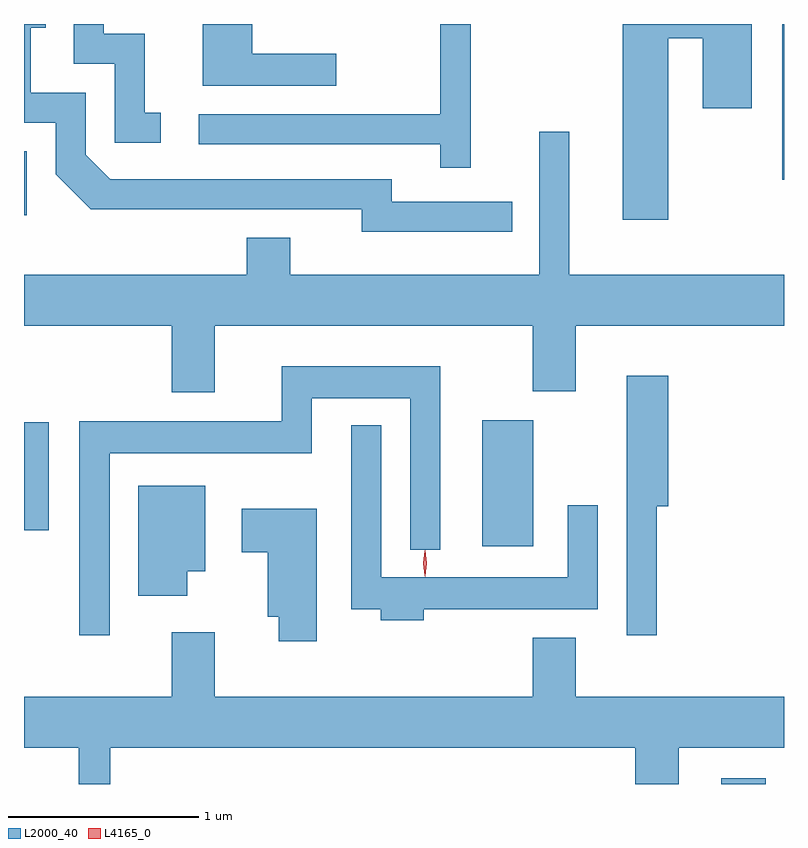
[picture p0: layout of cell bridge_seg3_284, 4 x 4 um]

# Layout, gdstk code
import gdstk
lib = gdstk.Library(unit=1e-6, precision=1e-09)
def R(c, l, rs):  # rectangles x0, y0, x1, y1
    for r in rs: c.add(gdstk.rectangle(r[:2], r[2:], *l))
def P(c, l, *ps):  # polygons
    for p in ps: c.add(gdstk.Polygon(p, *l))
L2000_40 = (2000, 40)
L4165_0 = (4165, 0)

bridge_seg3_284 = lib.new_cell('bridge_seg3_284')
R(bridge_seg3_284, L2000_40, [(1068.623,1116.945,1068.859,1116.974), (1067.366,1118.196,1067.634,1118.859), (1064.954,1118.281,1065.084,1118.849), (1064.954,1119.938,1064.969,1120.274), (1068.946,1120.126,1068.954,1120.945)])
P(bridge_seg3_284, L2000_40, [(1068.344,1120.871),(1068.526,1120.871),(1068.526,1120.501),(1068.784,1120.501),(1068.784,1120.945),(1068.106,1120.945),(1068.106,1119.916),(1068.344,1119.916)],
  [(1065.673,1120.479),(1065.589,1120.479),(1065.589,1120.894),(1065.374,1120.894),(1065.374,1120.945),(1065.216,1120.945),(1065.216,1120.736),(1065.431,1120.736),(1065.431,1120.321),(1065.673,1120.321)],
  [(1067.304,1120.945),(1067.146,1120.945),(1067.146,1120.469),(1065.873,1120.469),(1065.873,1120.311),(1067.146,1120.311),(1067.146,1120.188),(1067.304,1120.188)],
  [(1066.598,1120.789),(1066.154,1120.789),(1066.154,1120.945),(1065.896,1120.945),(1065.896,1120.621),(1066.598,1120.621)],
  [(1067.523,1120.009),(1066.889,1120.009),(1066.889,1120.129),(1065.407,1120.129),(1065.279,1120.257),(1065.279,1120.584),(1064.989,1120.584),(1064.989,1120.926),(1065.068,1120.926),(1065.068,1120.945),(1064.954,1120.945),(1064.954,1120.426),(1065.121,1120.426),(1065.121,1120.154),(1065.304,1119.971),(1066.731,1119.971),(1066.731,1119.851),(1067.523,1119.851)],
  [(1064.954,1119.356),(1065.731,1119.356),(1065.731,1119.006),(1065.959,1119.006),(1065.959,1119.356),(1067.631,1119.356),(1067.631,1119.011),(1067.859,1119.011),(1067.859,1119.356),(1068.954,1119.356),(1068.954,1119.624),(1067.824,1119.624),(1067.824,1120.378),(1067.666,1120.378),(1067.666,1119.624),(1066.354,1119.624),(1066.354,1119.819),(1066.126,1119.819),(1066.126,1119.624),(1064.954,1119.624)],
  [(1065.404,1118.686),(1066.469,1118.686),(1066.469,1118.976),(1066.986,1118.976),(1066.986,1118.178),(1067.144,1118.178),(1067.144,1119.144),(1066.311,1119.144),(1066.311,1118.854),(1065.246,1118.854),(1065.246,1117.728),(1065.404,1117.728)],
  [(1068.284,1118.406),(1068.344,1118.406),(1068.344,1119.094),(1068.126,1119.094),(1068.126,1117.728),(1068.284,1117.728)],
  [(1067.059,1117.866),(1067.974,1117.866),(1067.974,1118.413),(1067.816,1118.413),(1067.816,1118.034),(1066.834,1118.034),(1066.834,1118.833),(1066.676,1118.833),(1066.676,1117.866),(1066.831,1117.866),(1066.831,1117.806),(1067.059,1117.806)],
  [(1065.814,1118.066),(1065.909,1118.066),(1065.909,1118.514),(1065.556,1118.514),(1065.556,1117.936),(1065.814,1117.936)],
  [(1066.494,1118.394),(1066.101,1118.394),(1066.101,1118.166),(1066.236,1118.166),(1066.236,1117.826),(1066.296,1117.826),(1066.296,1117.696),(1066.494,1117.696)],
  [(1065.409,1117.136),(1068.171,1117.136),(1068.171,1116.945),(1068.399,1116.945),(1068.399,1117.136),(1068.954,1117.136),(1068.954,1117.404),(1067.859,1117.404),(1067.859,1117.714),(1067.631,1117.714),(1067.631,1117.404),(1065.959,1117.404),(1065.959,1117.744),(1065.731,1117.744),(1065.731,1117.404),(1064.954,1117.404),(1064.954,1117.136),(1065.241,1117.136),(1065.241,1116.945),(1065.409,1116.945)])
P(bridge_seg3_284, L4165_0, [(1067.065,1118.037),(1067.065,1118.038),(1067.055,1118.107),(1067.065,1118.176),(1067.065,1118.176),(1067.066,1118.176),(1067.075,1118.107),(1067.066,1118.038)],
  [(1067.064,1118.04),(1067.064,1118.04),(1067.055,1118.106),(1067.064,1118.172),(1067.065,1118.173),(1067.065,1118.172),(1067.074,1118.106),(1067.065,1118.04)])

lib.write_gds('bridge_seg3_284.gds')
